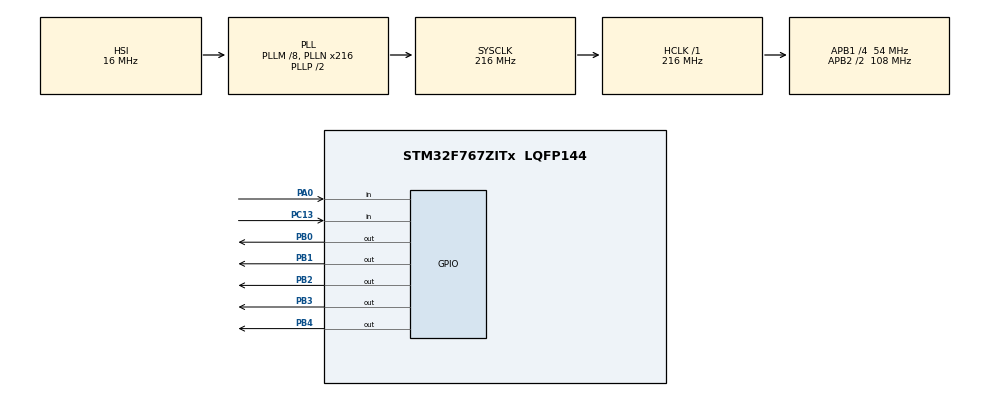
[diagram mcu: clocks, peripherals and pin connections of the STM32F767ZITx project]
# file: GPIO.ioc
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Mcu.Family=STM32F7
Mcu.Name=STM32F767ZITx
Mcu.Package=LQFP144
NVIC.PriorityGroup=NVIC_PRIORITYGROUP_4
PA0/WKUP.Signal=GPIO_Input
PB0.Signal=GPIO_Output
PB1.Signal=GPIO_Output
PB2.Signal=GPIO_Output
PB3.Signal=GPIO_Output
PB4.Signal=GPIO_Output
PC13.Signal=GPIO_Input
ProjectManager.HeapSize=0x200
ProjectManager.StackSize=0x400
ProjectManager.TargetToolchain=STM32CubeIDE
RCC.AHBFreq_Value=216000000
RCC.APB1CLKDivider=RCC_HCLK_DIV4
RCC.APB1Freq_Value=54000000
RCC.APB1TimFreq_Value=108000000
RCC.APB2CLKDivider=RCC_HCLK_DIV2
RCC.APB2Freq_Value=108000000
RCC.APB2TimFreq_Value=216000000
RCC.CortexFreq_Value=216000000
RCC.HCLKFreq_Value=216000000
RCC.HSE_VALUE=25000000
RCC.HSI_VALUE=16000000
RCC.LSE_VALUE=32768
RCC.PLLM=8
RCC.PLLN=216
RCC.SYSCLKFreq_VALUE=216000000
RCC.SYSCLKSource=RCC_SYSCLKSOURCE_PLLCLK
RCC.USBFreq_Value=216000000
RCC.VCOOutputFreq_Value=432000000
board=custom

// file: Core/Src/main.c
/* USER CODE BEGIN Header */
/**
  ******************************************************************************
  * @file           : main.c
  * @brief          : Main program body
  ******************************************************************************
  * @attention
  *
  * Copyright (c) 2023 STMicroelectronics.
  * All rights reserved.
  *
  * This software is licensed under terms that can be found in the LICENSE file
  * in the root directory of this software component.
  * If no LICENSE file comes with this software, it is provided AS-IS.
  *
  ******************************************************************************
  */
/* USER CODE END Header */
#include "main.h"
#include "gpio.h"

/* USER CODE BEGIN PV */
uint8_t count = 0;
/* USER CODE END PV */

void SystemClock_Config(void);
static void MPU_Initialize(void);
static void MPU_Config(void);

int main(void)
{

  /* MCU Configuration--------------------------------------------------------*/

  /* Reset of all peripherals, Initializes the Flash interface and the Systick. */
  HAL_Init();

  /* MPU Configuration--------------------------------------------------------*/
  MPU_Config();

  /* Configure the system clock */
  SystemClock_Config();

  /* Initialize all configured peripherals */
  MX_GPIO_Init();

  /* Infinite loop */
  while (1)
  {

    /* USER CODE BEGIN 3 */
	  if (HAL_GPIO_ReadPin(GPIOC, GPIO_PIN_13) == GPIO_PIN_SET){
		  GPIOB -> BSRR = 0x001F0000;
		  HAL_Delay(50);
		  GPIOB -> BSRR = 1 << count;
		  HAL_Delay(100);
		  count++;
		  if (count == 5){
			  count =0;
		  }

	  }
	  if (HAL_GPIO_ReadPin(GPIOA, GPIO_PIN_0) == GPIO_PIN_RESET){
		  for (int n =0;n<=4;n++){
			  GPIOB -> BSRR = 0x001F0000;
			  HAL_Delay(50);
			  GPIOB -> BSRR = 0x00000010 >> n;
			  HAL_Delay(450);
		  }
		  GPIOB -> BSRR = 0x001F0000;
	  }
//	  if (HAL_GPIO_ReadPin(GPIOC, GPIO_PIN_13) == GPIO_PIN_SET){
//		  if(count == 0){
//			  HAL_GPIO_WritePin(GPIOB, GPIO_PIN_0, GPIO_PIN_SET);
//			  HAL_Delay(1000);
//		  }
//		  else if(count == 1){
//			  HAL_GPIO_WritePin(GPIOB, GPIO_PIN_0, GPIO_PIN_RESET);
//			  HAL_GPIO_WritePin(GPIOB, GPIO_PIN_1, GPIO_PIN_SET);
//			  HAL_Delay(1000);
//		  }
//		  else if(count == 2){
//			  HAL_GPIO_WritePin(GPIOB, GPIO_PIN_1, GPIO_PIN_RESET);
//			  HAL_GPIO_WritePin(GPIOB, GPIO_PIN_2, GPIO_PIN_SET);
//			  HAL_Delay(1000);
//		  }
//		  else if(count == 3){
//			  HAL_GPIO_WritePin(GPIOB, GPIO_PIN_2, GPIO_PIN_RESET);
//			  HAL_GPIO_WritePin(GPIOB, GPIO_PIN_3, GPIO_PIN_SET);
//			  HAL_Delay(1000);
//		  }
//		  else if(count == 4){
//			  HAL_GPIO_WritePin(GPIOB, GPIO_PIN_3, GPIO_PIN_RESET);
//			  HAL_GPIO_WritePin(GPIOB, GPIO_PIN_4, GPIO_PIN_SET);
//			  HAL_Delay(1000);
//		  }
//		  else if(count == 5){
//			  HAL_GPIO_WritePin(GPIOB, GPIO_PIN_4, GPIO_PIN_RESET);
//			  HAL_GPIO_WritePin(GPIOB, GPIO_PIN_0, GPIO_PIN_SET);
//			  HAL_Delay(1000);
//		  }
//
//		  count ++;
//		  if (count > 5){
//			  count = 0;
//		  }
//	  }
//	  if (HAL_GPIO_ReadPin(GPIOA, GPIO_PIN_0) == GPIO_PIN_RESET){
//		  HAL_GPIO_WritePin(GPIOB, GPIO_PIN_4, GPIO_PIN_SET);
//		  HAL_Delay(500);
//		  HAL_GPIO_WritePin(GPIOB, GPIO_PIN_4, GPIO_PIN_RESET);
//		  HAL_GPIO_WritePin(GPIOB, GPIO_PIN_3, GPIO_PIN_SET);
//		  HAL_Delay(500);
//		  HAL_GPIO_WritePin(GPIOB, GPIO_PIN_3, GPIO_PIN_RESET);
//		  HAL_GPIO_WritePin(GPIOB, GPIO_PIN_2, GPIO_PIN_SET);
//		  HAL_Delay(500);
//		  HAL_GPIO_WritePin(GPIOB, GPIO_PIN_2, GPIO_PIN_RESET);
//		  HAL_GPIO_WritePin(GPIOB, GPIO_PIN_1, GPIO_PIN_SET);
//		  HAL_Delay(500);
//		  HAL_GPIO_WritePin(GPIOB, GPIO_PIN_1, GPIO_PIN_RESET);
//		  HAL_GPIO_WritePin(GPIOB, GPIO_PIN_0, GPIO_PIN_SET);
//		  HAL_Delay(500);
//		  HAL_GPIO_WritePin(GPIOB, GPIO_PIN_0, GPIO_PIN_RESET);
//	  }
  }
  /* USER CODE END 3 */
}

void SystemClock_Config(void)
{
  RCC_OscInitTypeDef RCC_OscInitStruct = {0};
  RCC_ClkInitTypeDef RCC_ClkInitStruct = {0};

  /** Configure the main internal regulator output voltage
  */
  __HAL_RCC_PWR_CLK_ENABLE();
  __HAL_PWR_VOLTAGESCALING_CONFIG(PWR_REGULATOR_VOLTAGE_SCALE1);

  /** Initializes the RCC Oscillators according to the specified parameters
  * in the RCC_OscInitTypeDef structure.
  */
  RCC_OscInitStruct.OscillatorType = RCC_OSCILLATORTYPE_HSI;
  RCC_OscInitStruct.HSIState = RCC_HSI_ON;
  RCC_OscInitStruct.HSICalibrationValue = RCC_HSICALIBRATION_DEFAULT;
  RCC_OscInitStruct.PLL.PLLState = RCC_PLL_ON;
  RCC_OscInitStruct.PLL.PLLSource = RCC_PLLSOURCE_HSI;
  RCC_OscInitStruct.PLL.PLLM = 8;
  RCC_OscInitStruct.PLL.PLLN = 216;
  RCC_OscInitStruct.PLL.PLLP = RCC_PLLP_DIV2;
  RCC_OscInitStruct.PLL.PLLQ = 2;
  RCC_OscInitStruct.PLL.PLLR = 2;
  if (HAL_RCC_OscConfig(&RCC_OscInitStruct) != HAL_OK)
  {
    Error_Handler();
  }

  /** Activate the Over-Drive mode
  */
  if (HAL_PWREx_EnableOverDrive() != HAL_OK)
  {
    Error_Handler();
  }

  /** Initializes the CPU, AHB and APB buses clocks
  */
  RCC_ClkInitStruct.ClockType = RCC_CLOCKTYPE_HCLK|RCC_CLOCKTYPE_SYSCLK
                              |RCC_CLOCKTYPE_PCLK1|RCC_CLOCKTYPE_PCLK2;
  RCC_ClkInitStruct.SYSCLKSource = RCC_SYSCLKSOURCE_PLLCLK;
  RCC_ClkInitStruct.AHBCLKDivider = RCC_SYSCLK_DIV1;
  RCC_ClkInitStruct.APB1CLKDivider = RCC_HCLK_DIV4;
  RCC_ClkInitStruct.APB2CLKDivider = RCC_HCLK_DIV2;

  if (HAL_RCC_ClockConfig(&RCC_ClkInitStruct, FLASH_LATENCY_7) != HAL_OK)
  {
    Error_Handler();
  }
}

/* MPU Configuration */

void MPU_Config(void)
{
  MPU_Region_InitTypeDef MPU_InitStruct = {0};

  /* Disables the MPU */
  HAL_MPU_Disable();

  /** Initializes and configures the Region and the memory to be protected
  */
  MPU_InitStruct.Enable = MPU_REGION_ENABLE;
  MPU_InitStruct.Number = MPU_REGION_NUMBER0;
  MPU_InitStruct.BaseAddress = 0x0;
  MPU_InitStruct.Size = MPU_REGION_SIZE_4GB;
  MPU_InitStruct.SubRegionDisable = 0x87;
  MPU_InitStruct.TypeExtField = MPU_TEX_LEVEL0;
  MPU_InitStruct.AccessPermission = MPU_REGION_NO_ACCESS;
  MPU_InitStruct.DisableExec = MPU_INSTRUCTION_ACCESS_DISABLE;
  MPU_InitStruct.IsShareable = MPU_ACCESS_SHAREABLE;
  MPU_InitStruct.IsCacheable = MPU_ACCESS_NOT_CACHEABLE;
  MPU_InitStruct.IsBufferable = MPU_ACCESS_NOT_BUFFERABLE;

  HAL_MPU_ConfigRegion(&MPU_InitStruct);
  /* Enables the MPU */
  HAL_MPU_Enable(MPU_PRIVILEGED_DEFAULT);

}

void Error_Handler(void)
{
  __disable_irq();
  while (1)
  {
  }
}
